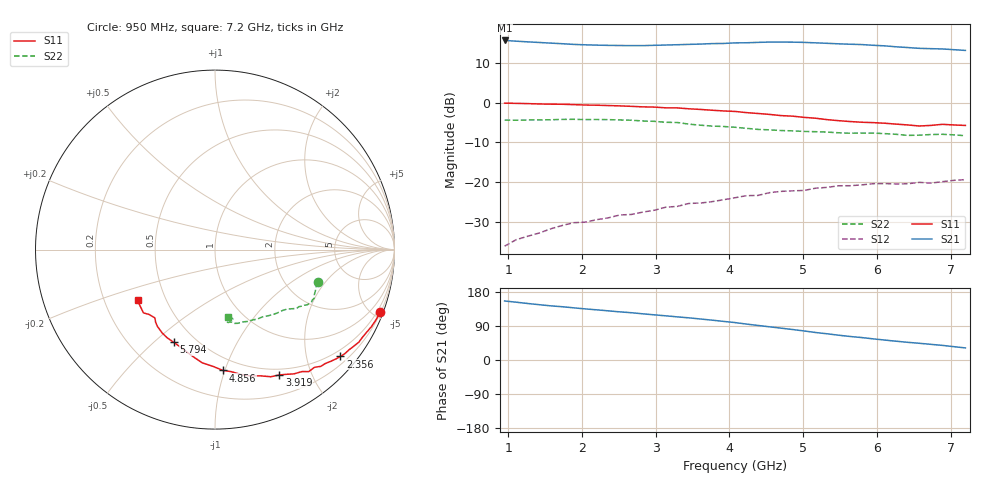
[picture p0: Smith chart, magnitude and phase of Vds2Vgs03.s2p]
!Keysight Technologies,M9375A,US54320202,A.12.55.09
!Date: Monday, July 10, 2023 14:23:27
!Correction: S11(Full 2 Port(1,2))
!S21(Full 2 Port(1,2))
!S12(Full 2 Port(1,2))
!S22(Full 2 Port(1,2))
!S2P File: Measurements: S11, S21, S12, S22:
# Hz S  RI  R 50
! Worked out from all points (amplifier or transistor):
!   41 points, 950 MHz to 7.2 GHz, reference 50 ohm
!   highest |S21| = 15.7 dB at 950 MHz (marker M1)
!   |S21| within 3 dB of that: start of sweep to end of sweep
!   unconditionally stable (mu >= 1): nowhere
!   at 1.887 GHz: K = 0.39, MSG = 22.5 dB, |S12| = -30.3 dB
!   at 4.075 GHz: K = 0.70, MSG = 19.5 dB, |S12| = -24.0 dB
!   at 7.2 GHz: K = 0.94, MSG = 16.3 dB, |S12| = -19.4 dB
!   S11 on the Smith chart (normalised r, x): 950 MHz: 0.24, -5.42; 2.356 GHz: 0.35, -2.67; 3.919 GHz: 0.43, -1.55; 4.856 GHz: 0.40, -0.98; 5.794 GHz: 0.38, -0.58; 7.2 GHz: 0.35, -0.27
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9.5e8  0.92 -0.3504  -5.545 2.495  0.00448 0.0148  0.5734 -0.1809
1.41875e9  0.8421 -0.464  -4.752 3.213  0.00985 0.0204  0.5575 -0.2366
1.575e9  0.8198 -0.4907  -4.489 3.394  0.0108 0.0231  0.5537 -0.2505
2.04375e9  0.7447 -0.56  -3.778 3.799  0.0158 0.0267  0.5414 -0.282
2.35625e9  0.6987 -0.5954  -3.368 4.056  0.0193 0.0294  0.5349 -0.2928
2.66875e9  0.6472 -0.6215  -2.985 4.298  0.0229 0.0313  0.5147 -0.3078
3.1375e9  0.5545 -0.6556  -2.38 4.764  0.0303 0.0372  0.4664 -0.3182
3.45e9  0.4857 -0.6793  -1.966 5.057  0.0362 0.0394  0.421 -0.33
3.7625e9  0.3997 -0.6947  -1.452 5.358  0.0394 0.0402  0.375 -0.3396
3.91875e9  0.3582 -0.6983  -1.151 5.452  0.0442 0.0398  0.3581 -0.3483
4.075e9  0.3112 -0.7084  -0.8625 5.601  0.0462 0.043  0.3314 -0.3591
4.54375e9  0.1425 -0.6952  0.2499 5.796  0.0597 0.0423  0.2363 -0.3869
4.85625e9  0.0436 -0.6732  0.9606 5.708  0.0673 0.0376  0.1831 -0.4003
5.0125e9  -0.0092 -0.6513  1.329 5.591  0.069 0.0363  0.1596 -0.4021
5.16875e9  -0.0707 -0.631  1.703 5.411  0.0749 0.0364  0.1264 -0.4106
5.48125e9  -0.1581 -0.5699  2.296 5.012  0.0841 0.03  0.0954 -0.4053
5.79375e9  -0.2297 -0.5166  2.762 4.636  0.0881 0.0252  0.0756 -0.4065
6.10625e9  -0.2953 -0.4631  3.158 4.129  0.0938 0.0161  0.0647 -0.401
6.2625e9  -0.3201 -0.4289  3.282 3.846  0.0934 0.0126  0.0695 -0.3918
6.575e9  -0.335 -0.3804  3.471 3.367  0.0981 0.0102  0.0957 -0.3765
6.8875e9  -0.3985 -0.3526  3.716 2.961  0.1006 0.00267  0.1013 -0.3852
7.2e9  -0.4311 -0.2822  3.866 2.402  0.1067 -0.00551  0.0728 -0.3753
